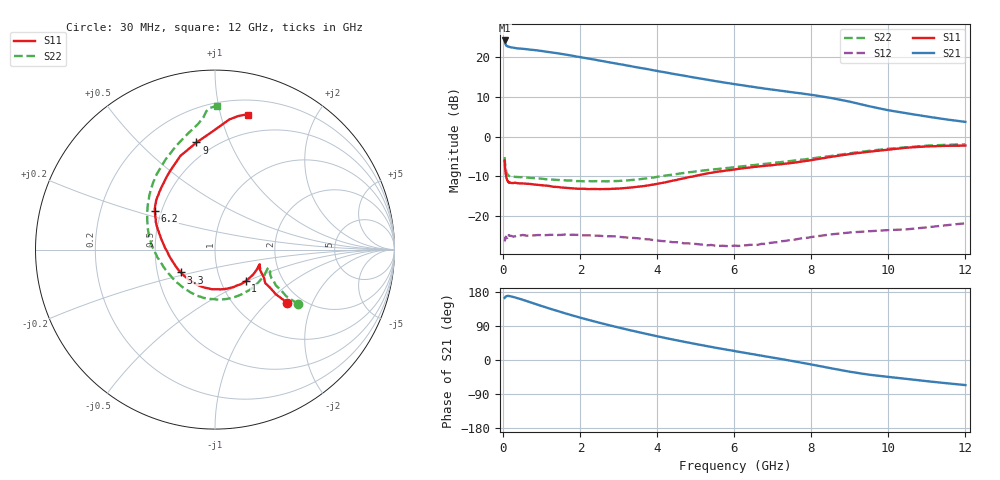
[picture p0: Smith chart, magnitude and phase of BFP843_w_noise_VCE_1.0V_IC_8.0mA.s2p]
! Infineon Technologies  Discrete & RF Semiconductors
! BFP843
! VCE =  1.0 V,  IC =  8.0 mA
! Common Emitter S-Parameters:  Aug 2013
# GHz  S  MA  R  50
!  f  S11  S21  S12  S22
! GHz  MAG  ANG  MAG  ANG  MAG  ANG  MAG  ANG
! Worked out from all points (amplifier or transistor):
!   103 points, 30 MHz to 12 GHz, reference 50 ohm
!   highest |S21| = 24.2 dB at 30 MHz (marker M1)
!   |S21| within 3 dB of that: start of sweep to 1.242 GHz
!   unconditionally stable (mu >= 1): 166.7 MHz to 11.21 GHz
!   at 400 MHz: K = 1.01, MAG = 22.9 dB, |S12| = -24.9 dB
!   at 3.7 GHz: K = 1.28, MAG = 18.2 dB, |S12| = -25.8 dB
!   at 12 GHz: K = 0.89, MSG = 12.8 dB, |S12| = -21.8 dB
!   lowest NFmin = 0.91 dB at 450 MHz
!   S11 on the Smith chart (normalised r, x): 30 MHz: 1.69, -1.33; 1 GHz: 1.31, -0.49; 3.3 GHz: 0.66, -0.18; 6.2 GHz: 0.46, +0.24; 9 GHz: 0.40, +0.76; 12 GHz: 0.33, +1.22
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0.03  0.4994 -36.3  16.28 163.9  0.0479 32.5  0.5549 -33.3
0.04  0.4218 -36.3  15.31 164.7  0.0506 25.3  0.4741 -33.2
0.05  0.3735 -34.7  14.75 167.0  0.0526 16.6  0.4276 -31.4
0.07  0.3159 -30.1  14.05 168.2  0.0528 17.2  0.371 -28.1
0.13  0.2726 -22.2  13.61 169.2  0.0564 8.2  0.3225 -20.5
0.3  0.2632 -18.7  13.08 165.2  0.0557 4.0  0.3119 -19.9
0.6  0.2559 -29.1  12.63 155.6  0.0568 1.0  0.3065 -31.0
1  0.2447 -45.8  11.98 142.2  0.0576 -2.0  0.2962 -49.4
1.3  0.2339 -58.9  11.43 132.5  0.0583 -3.8  0.2879 -63.4
1.6  0.2278 -72.6  10.84 123.3  0.0588 -5.5  0.2826 -77.2
2.1  0.2211 -95.4  9.828 108.8  0.0573 -9.0  0.2748 -99.2
2.7  0.2197 -121.3  8.718 93.0  0.0558 -11.5  0.2741 -123.2
3.3  0.2289 -146.2  7.743 78.3  0.0532 -15.2  0.2843 -145.6
4.1  0.2605 -174.1  6.581 60.4  0.0487 -16.8  0.3178 -170.1
5  0.3225 164.2  5.512 42.1  0.0447 -15.0  0.3658 171.4
6.1  0.3929 148.4  4.519 21.9  0.0422 -7.1  0.418 154.6
6.2  0.3991 147.0  4.443 20.1  0.0426 -5.6  0.4235 153.2
7.3  0.4563 131.0  3.741 1.0  0.0487 0.5  0.485 137.9
8.5  0.5564 110.3  3.08 -21.6  0.0589 -0.8  0.5719 118.9
9  0.6056 99.8  2.759 -31.0  0.0623 -3.1  0.6186 110.3
10.5  0.7297 83.7  1.964 -50.2  0.0684 -8.1  0.7381 95.1
12  0.7725 76.1  1.536 -66.2  0.0814 -14.6  0.8019 89.2
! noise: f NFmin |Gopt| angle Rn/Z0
0.45  0.91  0.1  6  0.01
0.9  0.92  0.1  16  0.03
1.5  0.94  0.1  26  0.09
1.9  0.96  0.09  37  0.17
2.4  1  0.07  48  0.24
3.5  1.07  0.05  59  0.28
5.5  1.21  0.14  -134  0.33
10  1.87  0.5  -69  0.42
